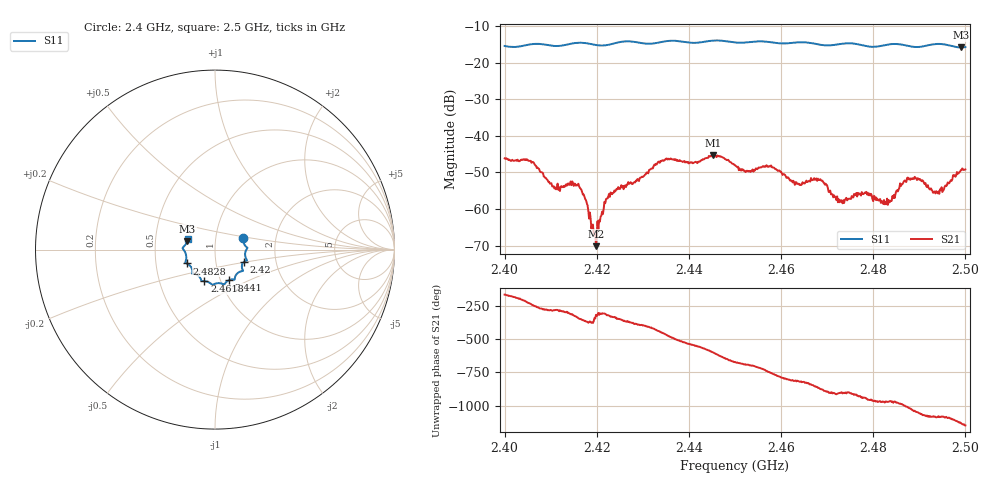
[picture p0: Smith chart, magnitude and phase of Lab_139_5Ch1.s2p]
# Hz S RI R 50
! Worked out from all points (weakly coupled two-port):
!   601 points, 2.4 GHz to 2.5 GHz, reference 50 ohm
!   highest |S21| = -45.24 dB at 2.4453 GHz (marker M1); lowest = -70.1 dB at 2.4198 GHz (marker M2)
!   lowest |S11| = -15.8 dB at 2.499 GHz (marker M3), VSWR 1.39, Z = 36.5 + j3.5 ohm
!   |S11| at or under -10 dB: start of sweep to end of sweep
!   S12 and S22 are empty: the file has one direction only
!   S11 on the Smith chart (normalised r, x): 2.4 GHz: 1.36, +0.18; 2.42 GHz: 1.36, -0.20; 2.441 GHz: 1.10, -0.39; 2.4618 GHz: 0.84, -0.30; 2.4828 GHz: 0.72, -0.11; 2.5 GHz: 0.73, +0.09
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2.4e9  0.1574 0.063  -0.00467 -0.00155  0 0  0 0
2.405167e9  0.1759 0.0139  -0.00325 0.0032  0 0  0 0
2.410833e9  0.1688 -0.0144  0.00033 0.00188  0 0  0 0
2.416667e9  0.1777 -0.06  0.00181 0.000314  0 0  0 0
2.419833e9  0.1606 -0.0685  0.00022 0.000221  0 0  0 0
2.42e9  0.1595 -0.0697  0.000363 0.00026  0 0  0 0
2.422667e9  0.1495 -0.094  0.00125 0.00102  0 0  0 0
2.433333e9  0.1122 -0.151  0.001 -0.00431  0 0  0 0
2.441e9  0.0785 -0.1696  -0.00427 0.000249  0 0  0 0
2.445333e9  0.0522 -0.1939  -0.00273 0.00474  0 0  0 0
2.45e9  0.0284 -0.1872  0.00259 0.00302  0 0  0 0
2.458e9  -0.0245 -0.1882  0.00302 -0.0022  0 0  0 0
2.461833e9  -0.0592 -0.1757  0.000225 -0.00252  0 0  0 0
2.466667e9  -0.0779 -0.1681  -0.00143 -0.00209  0 0  0 0
2.472833e9  -0.1195 -0.135  -0.00125 9.28e-05  0 0  0 0
2.478e9  -0.1262 -0.1155  -0.00124 0.00105  0 0  0 0
2.482833e9  -0.1578 -0.0771  -0.000407 0.00109  0 0  0 0
2.483333e9  -0.1608 -0.0759  -0.00044 0.00126  0 0  0 0
2.487333e9  -0.1614 -0.0569  0.000858 0.00249  0 0  0 0
2.493833e9  -0.1805 0.0076  0.00169 -0.000223  0 0  0 0
2.499e9  -0.1548 0.0467  0.00212 -0.00265  0 0  0 0
2.5e9  -0.1517 0.0612  0.0012 -0.00327  0 0  0 0
